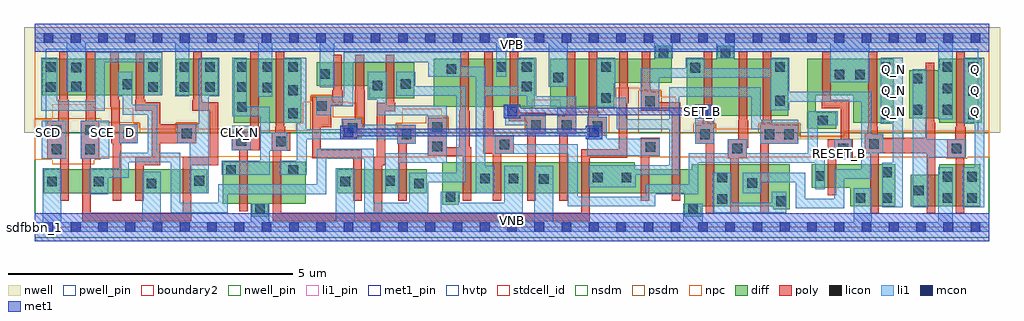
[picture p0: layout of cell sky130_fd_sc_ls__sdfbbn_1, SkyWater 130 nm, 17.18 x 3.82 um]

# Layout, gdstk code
import gdstk
lib = gdstk.Library(unit=1e-6, precision=1e-09)
def R(c, l, rs):  # rectangles x0, y0, x1, y1
    for r in rs: c.add(gdstk.rectangle(r[:2], r[2:], *l))
def A(c, l, x, y, w, h, nx, ny, dx, dy):  # array of equal rectangles
    R(c, l, [(x+i*dx, y+j*dy, x+i*dx+w, y+j*dy+h) for i in range(nx) for j in range(ny)])
def P(c, l, *ps):  # polygons
    for p in ps: c.add(gdstk.Polygon(p, *l))
nwell_pin = (64, 16)
nwell = (64, 20)
diff = (65, 20)
poly = (66, 20)
licon = (66, 44)
li1_pin = (67, 16)
li1 = (67, 20)
mcon = (67, 44)
met1_pin = (68, 16)
met1 = (68, 20)
hvtp = (78, 44)
stdcell_id = (81, 4)
nsdm = (93, 44)
psdm = (94, 20)
npc = (95, 20)
pwell_pin = (122, 16)
boundary2 = (236, 0)

sky130_fd_sc_ls__sdfbbn_ = lib.new_cell('sky130_fd_sc_ls__sdfbbn_1')
R(sky130_fd_sc_ls__sdfbbn_, nwell_pin, [(0,3.085,16.8,3.33)])
P(sky130_fd_sc_ls__sdfbbn_, nwell, [(16.99,3.52),(-0.19,3.52),(-0.19,1.66),(13.42,1.66),(13.42,1.55),(15.3,1.55),(15.3,1.66),(16.99,1.66)])
R(sky130_fd_sc_ls__sdfbbn_, diff, [(0.16,0.595,3.04,1.015), (5.32,0.595,6.9,1.015), (3.5,1.84,4.69,2.96), (7.025,2.12,8.8,2.96), (0.135,2.32,2.22,2.96), (2.49,2.32,3.23,2.96)])
P(sky130_fd_sc_ls__sdfbbn_, diff, [(4.77,1.15),(3.31,1.15),(3.31,0.41),(3.82,0.41),(3.82,0.18),(4.11,0.18),(4.11,0.41),(4.77,0.41)],
  [(6.675,2.905),(4.96,2.905),(4.96,2.485),(5.885,2.485),(5.885,2.265),(6.675,2.265)],
  [(11.21,3.195),(10.92,3.195),(10.92,2.96),(9.07,2.96),(9.07,2.12),(10.2,2.12),(10.2,2.54),(11.21,2.54)],
  [(13.26,2.96),(12.305,2.96),(12.305,3.195),(12.015,3.195),(12.015,2.96),(11.48,2.96),(11.48,1.96),(13.26,1.96)],
  [(13.285,1.11),(11.56,1.11),(11.56,1.015),(10.56,1.015),(10.56,1.145),(7.17,1.145),(7.17,0.39),(7.46,0.39),(7.46,0.595),(11.435,0.595),(11.435,0.18),(11.735,0.18),(11.735,0.37),(12.995,0.37),(12.995,0.31),(13.285,0.31)],
  [(15.12,2.96),(13.6,2.96),(13.6,1.73),(14.11,1.73),(14.11,2.02),(13.75,2.02),(13.75,2.32),(14.41,2.32),(14.41,1.84),(15.12,1.84)],
  [(15.145,1.11),(13.675,1.11),(13.675,0.69),(14.355,0.69),(14.355,0.37),(15.145,0.37)],
  [(16.645,1.11),(15.925,1.11),(15.925,0.92),(15.415,0.92),(15.415,0.37),(16.645,0.37)],
  [(16.665,2.96),(15.925,2.96),(15.925,2.76),(15.39,2.76),(15.39,1.92),(15.925,1.92),(15.925,1.84),(16.665,1.84)])
P(sky130_fd_sc_ls__sdfbbn_, poly, [(16.39,1.55),(16.385,1.55),(16.385,1.765),(16.37,1.765),(16.37,3.09),(16.22,3.09),(16.22,1.765),(16.205,1.765),(16.205,1.55),(16.06,1.55),(16.06,1.22),(16.21,1.22),(16.21,0.24),(16.36,0.24),(16.36,1.22),(16.39,1.22)],
  [(15.85,1.845),(15.835,1.845),(15.835,2.89),(15.685,2.89),(15.685,1.845),(15.67,1.845),(15.67,1.57),(14.935,1.57),(14.935,1.63),(14.84,1.63),(14.84,1.765),(14.825,1.765),(14.825,3.09),(14.675,3.09),(14.675,1.765),(14.66,1.765),(14.66,1.63),(14.605,1.63),(14.605,1.3),(14.71,1.3),(14.71,0.24),(14.86,0.24),(14.86,1.3),(15.7,1.3),(15.7,0.24),(15.85,0.24)],
  [(14.395,1.55),(14.335,1.55),(14.335,2.245),(14.015,2.245),(14.015,3.09),(13.865,3.09),(13.865,2.245),(13.85,2.245),(13.85,2.095),(14.185,2.095),(14.185,1.55),(13.96,1.55),(13.96,0.56),(14.11,0.56),(14.11,1.22),(14.395,1.22)],
  [(13.44,1.8),(12.98,1.8),(12.98,1.885),(12.965,1.885),(12.965,3.09),(12.815,3.09),(12.815,1.885),(12.8,1.885),(12.8,1.8),(12.77,1.8),(12.77,0.24),(12.92,0.24),(12.92,1.47),(13.44,1.47)],
  [(12.56,1.885),(12.545,1.885),(12.545,3.09),(12.395,3.09),(12.395,1.885),(12.38,1.885),(12.38,1.55),(12.2,1.55),(12.2,1.22),(12.24,1.22),(12.24,0.24),(12.39,0.24),(12.39,1.22),(12.53,1.22),(12.53,1.4),(12.56,1.4)],
  [(11.96,1.8),(11.94,1.8),(11.94,1.885),(11.925,1.885),(11.925,3.09),(11.775,3.09),(11.775,1.885),(11.76,1.885),(11.76,1.8),(11.63,1.8),(11.63,1.47),(11.81,1.47),(11.81,0.24),(11.96,0.24)],
  [(11.36,2.2),(10.995,2.2),(10.995,2.38),(10.845,2.38),(10.845,2.465),(10.83,2.465),(10.83,3.09),(10.68,3.09),(10.68,2.465),(10.665,2.465),(10.665,2.05),(11.21,2.05),(11.21,0.465),(11.36,0.465)],
  [(11,1.575),(10.67,1.575),(10.67,0.465),(10.82,0.465),(10.82,1.245),(11,1.245)],
  [(10.455,2.465),(10.44,2.465),(10.44,3.09),(10.29,3.09),(10.29,2.465),(10.275,2.465),(10.275,2.18),(10.28,2.18),(10.28,1.37),(9.62,1.37),(9.62,0.255),(6.115,0.255),(6.115,1.09),(6.17,1.09),(6.17,2.04),(6.345,2.04),(6.345,2.19),(6.33,2.19),(6.33,3.035),(6.18,3.035),(6.18,2.19),(6.02,2.19),(6.02,1.24),(5.965,1.24),(5.965,0.255),(4.335,0.255),(4.335,1.34),(4.5,1.34),(4.5,1.67),(4.41,1.67),(4.41,1.765),(4.395,1.765),(4.395,3.09),(4.245,3.09),(4.245,1.765),(4.23,1.765),(4.23,1.67),(4.17,1.67),(4.17,1.34),(4.185,1.34),(4.185,0.105),(9.77,0.105),(9.77,1.22),(10.43,1.22),(10.43,2.18),(10.455,2.18)],
  [(10.07,1.94),(9.92,1.94),(9.92,2.045),(9.905,2.045),(9.905,3.09),(9.755,3.09),(9.755,2.045),(9.74,2.045),(9.74,1.61),(10.07,1.61)],
  [(9.53,2.045),(9.515,2.045),(9.515,3.09),(9.365,3.09),(9.365,2.045),(9.35,2.045),(9.35,1.96),(9.2,1.96),(9.2,1.63),(9.23,1.63),(9.23,0.465),(9.38,0.465),(9.38,1.63),(9.53,1.63)],
  [(8.99,2.01),(8.525,2.01),(8.525,2.045),(8.51,2.045),(8.51,3.09),(8.36,3.09),(8.36,2.045),(8.345,2.045),(8.345,1.86),(8.66,1.86),(8.66,1.63),(8.67,1.63),(8.67,0.465),(8.82,0.465),(8.82,1.63),(8.99,1.63)],
  [(8.43,1.62),(8.075,1.62),(8.075,2.045),(8.06,2.045),(8.06,3.09),(7.91,3.09),(7.91,2.045),(7.895,2.045),(7.895,1.29),(8.065,1.29),(8.065,0.465),(8.215,0.465),(8.215,1.29),(8.43,1.29)],
  [(7.685,1.405),(7.655,1.405),(7.655,2.045),(7.64,2.045),(7.64,3.09),(7.49,3.09),(7.49,2.045),(7.475,2.045),(7.475,1.405),(7.25,1.405),(7.25,1.925),(6.92,1.925),(6.92,1.255),(7.535,1.255),(7.535,0.465),(7.685,0.465)],
  [(6.71,1.8),(6.38,1.8),(6.38,1.47),(6.395,1.47),(6.395,0.465),(6.545,0.465),(6.545,1.47),(6.71,1.47)],
  [(5.81,2.41),(5.795,2.41),(5.795,3.035),(5.645,3.035),(5.645,2.41),(5.63,2.41),(5.63,1.905),(5.425,1.905),(5.425,1.575),(5.755,1.575),(5.755,1.755),(5.81,1.755)],
  [(5.755,1.365),(5.035,1.365),(5.035,1.755),(5.215,1.755),(5.215,2.145),(5.42,2.145),(5.42,2.41),(5.405,2.41),(5.405,3.035),(5.255,3.035),(5.255,2.41),(5.24,2.41),(5.24,2.295),(4.885,2.295),(4.885,1.215),(5.605,1.215),(5.605,0.465),(5.755,0.465)],
  [(3.96,1.765),(3.945,1.765),(3.945,3.09),(3.795,3.09),(3.795,1.765),(3.78,1.765),(3.78,1.68),(3.47,1.68),(3.47,1.35),(3.595,1.35),(3.595,0.28),(3.745,0.28),(3.745,1.35),(3.96,1.35)],
  [(3.23,2.2),(2.95,2.2),(2.95,2.245),(2.935,2.245),(2.935,3.09),(2.785,3.09),(2.785,2.245),(2.77,2.245),(2.77,2.05),(3.08,2.05),(3.08,1.24),(2.605,1.24),(2.605,0.255),(0.985,0.255),(0.985,1.205),(1.135,1.205),(1.135,1.875),(1.075,1.875),(1.075,2.245),(1.06,2.245),(1.06,3.09),(0.91,3.09),(0.91,2.245),(0.895,2.245),(0.895,1.875),(0.805,1.875),(0.805,1.205),(0.835,1.205),(0.835,0.105),(2.755,0.105),(2.755,1.09),(3.23,1.09)],
  [(2.84,1.81),(2.205,1.81),(2.205,2.2),(1.945,2.2),(1.945,2.245),(1.93,2.245),(1.93,3.09),(1.78,3.09),(1.78,2.245),(1.765,2.245),(1.765,2.05),(2.055,2.05),(2.055,1.24),(1.765,1.24),(1.765,0.465),(1.915,0.465),(1.915,1.09),(2.205,1.09),(2.205,1.48),(2.84,1.48)],
  [(1.815,1.81),(1.495,1.81),(1.495,2.245),(1.48,2.245),(1.48,3.09),(1.33,3.09),(1.33,2.115),(1.345,2.115),(1.345,1.48),(1.375,1.48),(1.375,0.465),(1.525,0.465),(1.525,1.48),(1.815,1.48)],
  [(0.595,2.245),(0.58,2.245),(0.58,3.09),(0.43,3.09),(0.43,2.245),(0.415,2.245),(0.415,1.875),(0.22,1.875),(0.22,1.205),(0.445,1.205),(0.445,0.465),(0.595,0.465)])
A(sky130_fd_sc_ls__sdfbbn_, licon, 14.89, 1.9, 0.17, 0.17, 1, 3, 0, 0.415)
A(sky130_fd_sc_ls__sdfbbn_, licon, 16.435, 1.9, 0.17, 0.17, 1, 3, 0, 0.415)
A(sky130_fd_sc_ls__sdfbbn_, licon, 15.985, 1.98, 0.17, 0.17, 1, 3, 0, 0.375)
A(sky130_fd_sc_ls__sdfbbn_, licon, 3.56, 2.73, 0.17, 0.17, 3, 1, 0.45, 0)
R(sky130_fd_sc_ls__sdfbbn_, licon, [(3.88,0.24,4.05,0.41), (11.5,0.24,11.67,0.41), (13.055,0.37,13.225,0.54), (12.015,0.41,12.185,0.58), (14.45,0.43,14.62,0.6), (14.915,0.43,15.085,0.6), (15.985,0.43,16.155,0.6), (16.415,0.43,16.585,0.6), (7.23,0.45,7.4,0.62), (15.475,0.56,15.645,0.73), (6.675,0.68,6.845,0.85), (1.97,0.685,2.14,0.855), (12.545,0.69,12.715,0.86), (0.22,0.72,0.39,0.89), (1.04,0.72,1.21,0.89), (5.38,0.72,5.55,0.89), (2.81,0.73,2.98,0.9), (6.17,0.73,6.34,0.9), (8.875,0.76,9.045,0.93), (7.84,0.77,8.01,0.94), (8.34,0.77,8.51,0.94), (9.825,0.785,9.995,0.955), (10.33,0.785,10.5,0.955), (12.015,0.79,12.185,0.96), (15.985,0.8,16.155,0.97), (16.415,0.8,16.585,0.97), (13.735,0.815,13.905,0.985), (14.915,0.88,15.085,1.05), (3.37,0.92,3.54,1.09), (4.465,0.92,4.635,1.09), (0.3,1.285,0.47,1.455), (0.885,1.285,1.055,1.455), (12.28,1.3,12.45,1.47), (14.145,1.3,14.315,1.47), (16.14,1.3,16.31,1.47), (10.75,1.325,10.92,1.495), (7,1.335,7.17,1.505), (8.18,1.37,8.35,1.54), (14.685,1.38,14.855,1.55), (4.25,1.42,4.42,1.59), (3.55,1.43,3.72,1.6), (6.46,1.55,6.63,1.72), (11.71,1.55,11.88,1.72), (12.85,1.55,13.02,1.72), (13.19,1.55,13.36,1.72), (1.565,1.56,1.735,1.73), (2.59,1.56,2.76,1.73), (0.3,1.625,0.47,1.795), (0.885,1.625,1.055,1.795), (5.505,1.655,5.675,1.825), (7,1.675,7.17,1.845), (9.82,1.69,9.99,1.86), (8.74,1.71,8.91,1.88), (9.28,1.71,9.45,1.88), (13.785,1.79,13.955,1.96), (4.46,1.92,4.63,2.09), (15.45,1.98,15.62,2.15), (3.56,2.03,3.73,2.2), (4.965,2.045,5.135,2.215), (10.745,2.13,10.915,2.3), (13.03,2.14,13.2,2.31), (9.97,2.19,10.14,2.36), (4.46,2.325,4.63,2.495), (4.01,2.37,4.18,2.54), (0.195,2.38,0.365,2.55), (1.995,2.38,2.165,2.55), (2.55,2.38,2.72,2.55), (3,2.38,3.17,2.55), (3.56,2.38,3.73,2.55), (0.645,2.385,0.815,2.555), (8.575,2.39,8.745,2.56), (5.945,2.405,6.115,2.575), (1.545,2.43,1.715,2.6), (6.445,2.435,6.615,2.605), (15.45,2.53,15.62,2.7), (9.13,2.55,9.3,2.72), (14.08,2.6,14.25,2.77), (14.44,2.6,14.61,2.77), (5.02,2.61,5.19,2.78), (7.25,2.695,7.42,2.865), (11.54,2.72,11.71,2.89), (0.645,2.725,0.815,2.895), (0.195,2.73,0.365,2.9), (1.995,2.73,2.165,2.9), (2.55,2.73,2.72,2.9), (3,2.73,3.17,2.9), (8.125,2.73,8.295,2.9), (8.575,2.73,8.745,2.9), (9.97,2.73,10.14,2.9), (13.03,2.73,13.2,2.9), (10.98,2.97,11.15,3.14), (12.075,2.97,12.245,3.14)])
A(sky130_fd_sc_ls__sdfbbn_, li1_pin, 15.035, 1.95, 0.17, 0.17, 1, 3, 0, 0.37)
A(sky130_fd_sc_ls__sdfbbn_, li1_pin, 16.475, 1.95, 0.17, 0.17, 1, 3, 0, 0.37)
R(sky130_fd_sc_ls__sdfbbn_, li1_pin, [(14.075,1.21,14.245,1.38), (0.155,1.58,0.325,1.75), (1.115,1.58,1.285,1.75), (1.595,1.58,1.765,1.75), (3.515,1.58,3.685,1.75)])
R(sky130_fd_sc_ls__sdfbbn_, li1, [(14.075,1.19,14.38,1.55), (0.125,1.205,0.55,1.875), (0.805,1.205,1.315,1.875), (3.47,1.35,3.8,1.78), (11.63,1.47,11.96,2.12), (1.485,1.48,1.815,1.81)])
P(sky130_fd_sc_ls__sdfbbn_, li1, [(0,-0.085),(0,0.085),(0.14,0.085),(0.14,1.035),(0.47,1.035),(0.47,0.085),(1.89,0.085),(1.89,0.97),(2.22,0.97),(2.22,0.085),(3.8,0.085),(3.8,0.41),(4.13,0.41),(4.13,0.085),(5.3,0.085),(5.3,1.035),(5.63,1.035),(5.63,0.085),(8.795,0.085),(8.795,1.08),(9.125,1.08),(9.125,0.085),(11.415,0.085),(11.415,0.41),(11.755,0.41),(11.755,0.085),(14.415,0.085),(14.415,0.68),(14.735,0.68),(14.735,0.085),(15.905,0.085),(15.905,1.05),(16.155,1.05),(16.155,0.085),(16.8,0.085),(16.8,-0.085)],
  [(0,3.245),(0,3.415),(16.8,3.415),(16.8,3.245),(16.155,3.245),(16.155,1.9),(15.905,1.9),(15.905,3.245),(14.69,3.245),(14.69,2.55),(14,2.55),(14,3.245),(12.325,3.245),(12.325,2.97),(11.995,2.97),(11.995,3.245),(11.23,3.245),(11.23,2.97),(10.9,2.97),(10.9,3.245),(9.38,3.245),(9.38,2.47),(9.05,2.47),(9.05,3.245),(8.295,3.245),(8.295,2.65),(8.125,2.65),(8.125,3.245),(5.27,3.245),(5.27,2.465),(5.02,2.465),(5.02,3.245),(4.18,3.245),(4.18,2.29),(3.93,2.29),(3.93,3.245),(2.72,3.245),(2.72,2.3),(2.47,2.3),(2.47,3.245),(0.895,3.245),(0.895,2.385),(0.565,2.385),(0.565,3.245)],
  [(14.89,1.82),(14.89,2.98),(15.275,2.98),(15.275,0.35),(14.915,0.35),(14.915,1.13),(15.105,1.13),(15.105,1.82)],
  [(16.355,1.82),(16.355,2.98),(16.715,2.98),(16.715,0.35),(16.335,0.35),(16.335,1.05),(16.545,1.05),(16.545,1.82)],
  [(15.45,2.78),(15.7,2.78),(15.7,1.55),(16.375,1.55),(16.375,1.22),(15.725,1.22),(15.725,0.35),(15.45,0.35)],
  [(11.79,2.8),(12.95,2.8),(12.95,2.98),(13.28,2.98),(13.28,2.38),(14.72,2.38),(14.72,1.63),(14.935,1.63),(14.935,1.3),(14.72,1.3),(14.72,0.85),(14.245,0.85),(14.245,0.33),(13.395,0.33),(13.395,0.79),(12.795,0.79),(12.795,0.595),(12.465,0.595),(12.465,0.96),(13.565,0.96),(13.565,0.5),(14.075,0.5),(14.075,1.02),(14.55,1.02),(14.55,2.21),(13.28,2.21),(13.28,2.06),(12.95,2.06),(12.95,2.63),(10.995,2.63),(10.995,2.065),(10.665,2.065),(10.665,2.8),(11.46,2.8),(11.46,2.98),(11.79,2.98)],
  [(10.22,2.28),(10.41,2.28),(10.41,1.895),(11.17,1.895),(11.17,2.46),(12.78,2.46),(12.78,1.89),(13.44,1.89),(13.44,1.47),(12.77,1.47),(12.77,1.72),(12.61,1.72),(12.61,2.29),(11.34,2.29),(11.34,0.92),(10.58,0.92),(10.58,0.705),(9.745,0.705),(9.745,1.09),(11.17,1.09),(11.17,1.725),(10.24,1.725),(10.24,2.11),(9.89,2.11),(9.89,2.98),(10.22,2.98)],
  [(7.505,2.82),(7.93,2.82),(7.93,2.48),(8.495,2.48),(8.495,2.98),(8.83,2.98),(8.83,2.3),(9.53,2.3),(9.53,1.63),(9.2,1.63),(9.2,2.13),(8.66,2.13),(8.66,2.31),(7.93,2.31),(7.93,1.08),(8.09,1.08),(8.09,0.595),(7.76,0.595),(7.76,2.65),(6.925,2.65),(6.925,2.905),(5.61,2.905),(5.61,2.125),(5.215,2.125),(5.215,1.965),(4.95,1.965),(4.95,2.295),(5.44,2.295),(5.44,3.075),(7.505,3.075)],
  [(6.025,1.97),(6.025,2.245),(5.865,2.245),(5.865,2.735),(6.195,2.735),(6.195,2.14),(7.25,2.14),(7.25,1.13),(6.42,1.13),(6.42,0.595),(6.17,0.595),(6.17,1.3),(6.92,1.3),(6.92,1.97)],
  [(2.89,1.81),(2.89,2.98),(3.25,2.98),(3.25,2.3),(3.06,2.3),(3.06,0.595),(2.73,0.595),(2.73,1.48),(2.51,1.48),(2.51,1.81)],
  [(3.73,2.12),(4.14,2.12),(4.14,1.67),(4.44,1.67),(4.44,1.34),(4.14,1.34),(4.14,0.92),(3.29,0.92),(3.29,1.17),(3.97,1.17),(3.97,1.95),(3.48,1.95),(3.48,2.98),(3.73,2.98)],
  [(1.915,2.905),(1.235,2.905),(1.235,2.045),(0.115,2.045),(0.115,2.98),(0.395,2.98),(0.395,2.215),(1.065,2.215),(1.065,3.075),(2.245,3.075),(2.245,2.32),(1.915,2.32)],
  [(8.26,0.425),(8.26,1.08),(8.59,1.08),(8.59,0.255),(7.15,0.255),(7.15,0.62),(7.48,0.62),(7.48,0.425)],
  [(2.56,0.425),(3.23,0.425),(3.23,0.75),(4.96,0.75),(4.96,1.375),(5.97,1.375),(5.97,0.425),(6.595,0.425),(6.595,0.96),(7.42,0.96),(7.42,2.31),(6.365,2.31),(6.365,2.735),(6.695,2.735),(6.695,2.48),(7.59,2.48),(7.59,0.79),(6.925,0.79),(6.925,0.255),(5.8,0.255),(5.8,1.205),(5.13,1.205),(5.13,0.58),(3.4,0.58),(3.4,0.255),(2.39,0.255),(2.39,1.14),(1.655,1.14),(1.655,0.865),(1.29,0.865),(1.29,0.575),(0.96,0.575),(0.96,1.035),(1.485,1.035),(1.485,1.31),(1.985,1.31),(1.985,1.98),(1.545,1.98),(1.545,2.3),(1.465,2.3),(1.465,2.735),(1.715,2.735),(1.715,2.15),(2.155,2.15),(2.155,1.31),(2.56,1.31)],
  [(4.61,1.84),(4.38,1.84),(4.38,2.98),(4.78,2.98),(4.78,1.72),(5.405,1.72),(5.405,1.905),(5.755,1.905),(5.755,1.8),(6.71,1.8),(6.71,1.47),(6.38,1.47),(6.38,1.55),(4.79,1.55),(4.79,0.92),(4.31,0.92),(4.31,1.17),(4.61,1.17)],
  [(9.555,0.535),(10.75,0.535),(10.75,0.75),(11.51,0.75),(11.51,1.3),(12.2,1.3),(12.2,1.55),(12.53,1.55),(12.53,1.3),(13.61,1.3),(13.61,2.04),(14.13,2.04),(14.13,1.79),(13.78,1.79),(13.78,1.3),(13.905,1.3),(13.905,0.67),(13.735,0.67),(13.735,1.13),(11.68,1.13),(11.68,0.58),(10.92,0.58),(10.92,0.365),(9.385,0.365),(9.385,1.29),(8.1,1.29),(8.1,1.62),(8.43,1.62),(8.43,1.46),(9.555,1.46)],
  [(11.935,0.255),(11.935,0.96),(12.265,0.96),(12.265,0.425),(12.975,0.425),(12.975,0.62),(13.225,0.62),(13.225,0.255)],
  [(9.725,1.26),(9.725,1.94),(10.07,1.94),(10.07,1.555),(11,1.555),(11,1.26)],
  [(8.66,1.63),(8.66,1.79),(8.285,1.79),(8.285,2.14),(8.49,2.14),(8.49,1.96),(8.99,1.96),(8.99,1.63)])
A(sky130_fd_sc_ls__sdfbbn_, mcon, 0.155, -0.085, 0.17, 0.17, 35, 2, 0.48, 3.33)
R(sky130_fd_sc_ls__sdfbbn_, mcon, [(5.435,1.58,5.605,1.75), (9.755,1.58,9.925,1.75), (8.315,1.95,8.485,2.12), (11.675,1.95,11.845,2.12)])
R(sky130_fd_sc_ls__sdfbbn_, met1_pin, [(0,0,16.8,0.245), (11.675,1.95,11.845,2.12), (0,3.085,16.8,3.33)])
R(sky130_fd_sc_ls__sdfbbn_, met1, [(0,-0.245,16.8,0.245), (0,3.085,16.8,3.575)])
P(sky130_fd_sc_ls__sdfbbn_, met1, [(8.545,2.105),(11.615,2.105),(11.615,2.15),(11.905,2.15),(11.905,1.92),(11.615,1.92),(11.615,1.965),(8.545,1.965),(8.545,1.92),(8.255,1.92),(8.255,2.15),(8.545,2.15)],
  [(9.695,1.55),(9.695,1.595),(5.665,1.595),(5.665,1.55),(5.375,1.55),(5.375,1.78),(5.665,1.78),(5.665,1.735),(9.695,1.735),(9.695,1.78),(9.985,1.78),(9.985,1.55)])
R(sky130_fd_sc_ls__sdfbbn_, hvtp, [(0.19,1.66,16.61,3.14)])
R(sky130_fd_sc_ls__sdfbbn_, stdcell_id, [(0,0,16.8,3.33)])
P(sky130_fd_sc_ls__sdfbbn_, nsdm, [(16.8,1.66),(14.24,1.66),(14.24,1.6),(13.47,1.6),(13.47,1.66),(0,1.66),(0,-0.19),(16.8,-0.19)])
P(sky130_fd_sc_ls__sdfbbn_, psdm, [(16.8,3.52),(0,3.52),(0,1.905),(1.165,1.905),(1.165,1.84),(1.845,1.84),(1.845,1.66),(2.48,1.66),(2.48,1.84),(2.87,1.84),(2.87,1.66),(3.44,1.66),(3.44,1.71),(3.83,1.71),(3.83,1.7),(4.855,1.7),(4.855,2.325),(5.245,2.325),(5.245,1.935),(5.785,1.935),(5.785,1.66),(6.35,1.66),(6.35,1.83),(6.89,1.83),(6.89,1.955),(7.28,1.955),(7.28,1.66),(8.63,1.66),(8.63,1.99),(9.56,1.99),(9.56,1.97),(10.1,1.97),(10.1,1.66),(10.635,1.66),(10.635,2.41),(11.025,2.41),(11.025,1.66),(11.6,1.66),(11.6,1.83),(11.99,1.83),(11.99,1.66),(12.74,1.66),(12.74,1.83),(13.47,1.83),(13.47,1.6),(14.24,1.6),(14.24,1.66),(16.8,1.66)])
P(sky130_fd_sc_ls__sdfbbn_, npc, [(16.8,1.7),(14.25,1.7),(14.25,1.59),(13.46,1.59),(13.46,1.82),(12.75,1.82),(12.75,1.73),(11.98,1.73),(11.98,1.82),(11.875,1.82),(11.875,1.87),(11.67,1.87),(11.67,2.085),(11.28,2.085),(11.28,2.295),(11.015,2.295),(11.015,2.4),(10.645,2.4),(10.645,2.45),(10.23,2.45),(10.23,2.1),(10.01,2.1),(10.01,2.03),(9.26,2.03),(9.26,2.245),(8.745,2.245),(8.745,1.98),(8.64,1.98),(8.64,1.73),(7.27,1.73),(7.27,1.945),(7.165,1.945),(7.165,2.085),(6.465,2.085),(6.465,1.82),(6.36,1.82),(6.36,1.73),(5.775,1.73),(5.775,1.925),(5.67,1.925),(5.67,2.19),(5.5,2.19),(5.5,2.21),(5.235,2.21),(5.235,2.315),(4.865,2.315),(4.865,2.21),(4.72,2.21),(4.72,1.83),(4.6,1.83),(4.6,1.7),(3.36,1.7),(3.36,1.73),(2.86,1.73),(2.86,1.83),(2.49,1.83),(2.49,1.73),(1.835,1.73),(1.835,1.83),(1.73,1.83),(1.73,2.095),(1.05,2.095),(1.05,2.16),(0.305,2.16),(0.305,1.895),(0,1.895),(0,1.185),(0.305,1.185),(0.305,1.105),(1.05,1.105),(1.05,1.185),(1.155,1.185),(1.155,1.23),(3.22,1.23),(3.22,1.24),(4.86,1.24),(4.86,1.23),(7.08,1.23),(7.08,1.235),(10.65,1.235),(10.65,1.225),(11.02,1.225),(11.02,1.23),(12.18,1.23),(12.18,1.2),(12.55,1.2),(12.55,1.23),(14.045,1.23),(14.045,1.2),(14.415,1.2),(14.415,1.23),(16.04,1.23),(16.04,1.2),(16.41,1.2),(16.41,1.23),(16.8,1.23)])
R(sky130_fd_sc_ls__sdfbbn_, pwell_pin, [(0,0,16.8,0.245)])
R(sky130_fd_sc_ls__sdfbbn_, boundary2, [(0,0,16.8,3.33)])
sky130_fd_sc_ls__sdfbbn_.add(gdstk.Label('sdfbbn_1', (0,0), layer=83, texttype=44))
sky130_fd_sc_ls__sdfbbn_.add(gdstk.Label('VNB', (8.4,0.123), layer=64, texttype=59))
sky130_fd_sc_ls__sdfbbn_.add(gdstk.Label('VPB', (8.4,3.208), layer=64, texttype=5))
sky130_fd_sc_ls__sdfbbn_.add(gdstk.Label('SET_B', (11.76,2.035), layer=68, texttype=5))
sky130_fd_sc_ls__sdfbbn_.add(gdstk.Label('VPWR', (8.4,3.208), layer=68, texttype=5))
sky130_fd_sc_ls__sdfbbn_.add(gdstk.Label('VGND', (8.4,0.123), layer=68, texttype=5))
sky130_fd_sc_ls__sdfbbn_.add(gdstk.Label('D', (1.68,1.665), layer=67, texttype=5))
sky130_fd_sc_ls__sdfbbn_.add(gdstk.Label('SCE', (1.2,1.665), layer=67, texttype=5))
sky130_fd_sc_ls__sdfbbn_.add(gdstk.Label('SCD', (0.24,1.665), layer=67, texttype=5))
sky130_fd_sc_ls__sdfbbn_.add(gdstk.Label('Q_N', (15.12,2.035), layer=67, texttype=5))
sky130_fd_sc_ls__sdfbbn_.add(gdstk.Label('Q_N', (15.12,2.405), layer=67, texttype=5))
sky130_fd_sc_ls__sdfbbn_.add(gdstk.Label('Q_N', (15.12,2.775), layer=67, texttype=5))
sky130_fd_sc_ls__sdfbbn_.add(gdstk.Label('CLK_N', (3.6,1.665), layer=67, texttype=5))
sky130_fd_sc_ls__sdfbbn_.add(gdstk.Label('RESET_B', (14.16,1.295), layer=67, texttype=5))
sky130_fd_sc_ls__sdfbbn_.add(gdstk.Label('Q', (16.56,2.035), layer=67, texttype=5))
sky130_fd_sc_ls__sdfbbn_.add(gdstk.Label('Q', (16.56,2.405), layer=67, texttype=5))
sky130_fd_sc_ls__sdfbbn_.add(gdstk.Label('Q', (16.56,2.775), layer=67, texttype=5))

lib.write_gds('sky130_fd_sc_ls__sdfbbn_1.gds')
